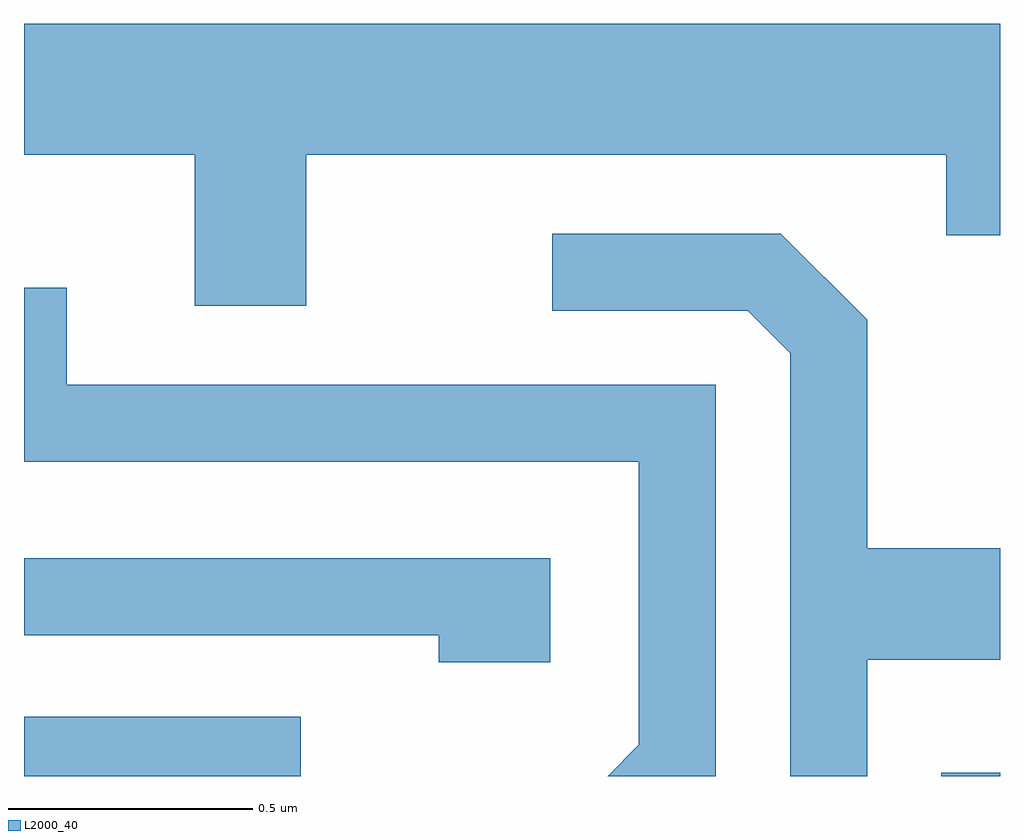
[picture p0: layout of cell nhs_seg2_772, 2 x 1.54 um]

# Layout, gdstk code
import gdstk
lib = gdstk.Library(unit=1e-6, precision=1e-09)
def R(c, l, rs):  # rectangles x0, y0, x1, y1
    for r in rs: c.add(gdstk.rectangle(r[:2], r[2:], *l))
def P(c, l, *ps):  # polygons
    for p in ps: c.add(gdstk.Polygon(p, *l))
L2000_40 = (2000, 40)

nhs_seg2_772 = lib.new_cell('nhs_seg2_772')
R(nhs_seg2_772, L2000_40, [(190.611,1064.802,191.178,1064.924), (192.491,1064.802,192.611,1064.809)])
P(nhs_seg2_772, L2000_40, [(191.189,1066.076),(192.501,1066.076),(192.501,1065.911),(192.611,1065.911),(192.611,1066.344),(190.611,1066.344),(190.611,1066.076),(190.961,1066.076),(190.961,1065.766),(191.189,1065.766)],
  [(192.339,1065.041),(192.611,1065.041),(192.611,1065.269),(192.339,1065.269),(192.339,1065.737),(192.162,1065.914),(191.693,1065.914),(191.693,1065.756),(192.094,1065.756),(192.181,1065.669),(192.181,1064.802),(192.339,1064.802)],
  [(192.029,1065.604),(190.699,1065.604),(190.699,1065.803),(190.611,1065.803),(190.611,1065.446),(191.871,1065.446),(191.871,1064.867),(191.807,1064.802),(192.029,1064.802)],
  [(191.689,1065.249),(190.611,1065.249),(190.611,1065.091),(191.461,1065.091),(191.461,1065.036),(191.689,1065.036)])

lib.write_gds('nhs_seg2_772.gds')
